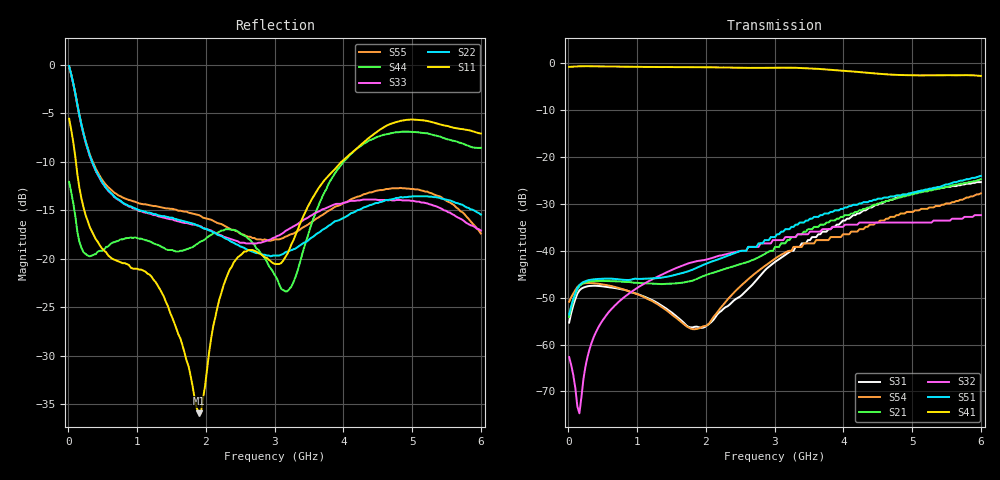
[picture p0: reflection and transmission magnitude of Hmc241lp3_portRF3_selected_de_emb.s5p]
! Hittite Microwave Corporation
! 20 Alpha Road
! Chelmsford, MA 01824
! Tel: 978-250-3343
! Fax: 978-250-3373
! Device: HMC182S14, DC-2 GHz GaAS MMIC SP4T Non-Reflective Switch in 14-lead SOIC package
! Misc: Port 1 = RFCom
!  Port 2 = RF1
!  Port 3 = RF2
!  Port 4 = RF3
!  Port 5 = RF4
!  RF3 selected, Vctl=0/-5V
!  Data reformated to new Touchstone file format - Tue Jan 09 08:10:08 2007
!# MHz S MA R 50
! 5 Port Network Data
!! Created Tue Jan 09
# mhz S db R 50
! 5 Port Network Data from SP1.SP block
! freq  dbS11  angS11  dbS12  angS12  dbS13  angS13  dbS14  angS14
!  dbS15  angS15
!  dbS21  angS21  dbS22  angS22  dbS23  angS23
!  dbS24  angS24  dbS25  angS25
!  dbS31  angS31  dbS32  angS32
!  dbS33  angS33  dbS34  angS34  dbS35  angS35
!  dbS41  angS41
!  dbS42  angS42  dbS43  angS43  dbS44  angS44  dbS45  angS45
!  dbS51  angS51  dbS52  angS52  dbS53  angS53  dbS54  angS54
!  dbS55  angS55
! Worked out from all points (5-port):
!   201 points, 10 MHz to 6 GHz, reference 50 ohm
!   strongest paths, dB at 10 MHz, 1.508 GHz, 3.005 GHz, 4.503 GHz, 6 GHz:
!     S41: -0.8, -0.8, -1.0, -2.2, -2.7
!     S51: -53.6, -45.3, -37.1, -28.9, -24.0
!     S32: -62.7, -44.1, -37.7, -34.0, -32.4
!     S21: -54.1, -47.0, -39.2, -29.9, -24.7
!     S54: -50.9, -53.6, -41.7, -34.0, -27.7
!     S31: -55.3, -53.2, -42.4, -30.2, -25.4
!   lowest |S11| = -35.9 dB at 1.897 GHz (marker M1), VSWR 1.03, Z = 51.1 - j1.16 ohm
!   |S11| at or under -10 dB: 108.6 MHz to 3.973 GHz (3.864 GHz wide, 189 % of centre)
